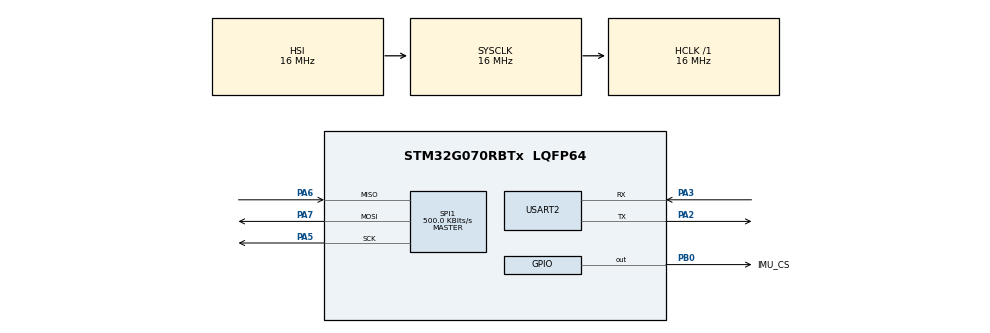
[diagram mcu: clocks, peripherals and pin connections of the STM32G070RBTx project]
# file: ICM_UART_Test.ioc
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Mcu.Family=STM32G0
Mcu.Name=STM32G070RBTx
Mcu.Package=LQFP64
PA13.GPIO_Label=TMS
PA13.Mode=Serial_Wire
PA13.Signal=SYS_SWDIO
PA14-BOOT0.GPIO_Label=TCK
PA14-BOOT0.Mode=Serial_Wire
PA14-BOOT0.Signal=SYS_SWCLK
PA2.GPIO_PuPd=GPIO_PULLUP
PA2.Mode=Asynchronous
PA2.Signal=USART2_TX
PA3.GPIO_PuPd=GPIO_PULLUP
PA3.Mode=Asynchronous
PA3.Signal=USART2_RX
PA5.Mode=Full_Duplex_Master
PA5.Signal=SPI1_SCK
PA6.Mode=Full_Duplex_Master
PA6.Signal=SPI1_MISO
PA7.Mode=Full_Duplex_Master
PA7.Signal=SPI1_MOSI
PB0.GPIO_Label=IMU_CS
PB0.PinState=GPIO_PIN_SET
PB0.Signal=GPIO_Output
PC13.Mode=SYS_WakeUp1
PC13.Signal=SYS_WKUP2
PC14-OSC32_IN\ (PC14).Signal=RCC_OSC32_IN
PC15-OSC32_OUT\ (PC15).Signal=RCC_OSC32_OUT
PF0-OSC_IN\ (PF0).GPIO_Label=MCO
PF0-OSC_IN\ (PF0).Signal=RCC_OSC_IN
ProjectManager.HeapSize=0x200
ProjectManager.StackSize=0x400
ProjectManager.TargetToolchain=CMake
RCC.AHBFreq_Value=16000000
RCC.CortexFreq_Value=16000000
RCC.EXTERNAL_CLOCK_VALUE=12288000
RCC.HCLKFreq_Value=16000000
RCC.HSE_VALUE=8000000
RCC.HSI_VALUE=16000000
RCC.SYSCLKFreq_VALUE=16000000
RCC.VCOOutputFreq_Value=128000000
SPI1.BaudRatePrescaler=SPI_BAUDRATEPRESCALER_32
SPI1.CalculateBaudRate=500.0 KBits/s
SPI1.DataSize=SPI_DATASIZE_8BIT
SPI1.Direction=SPI_DIRECTION_2LINES
SPI1.Mode=SPI_MODE_MASTER
SPI1.NSSPMode=SPI_NSS_PULSE_DISABLE
SPI1.VirtualType=VM_MASTER
USART2.VirtualMode-Asynchronous=VM_ASYNC
USART2.WordLength=WORDLENGTH_8B
board=NUCLEO-G070RB

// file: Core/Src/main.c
/* USER CODE BEGIN Header */
/**
  ******************************************************************************
  * @file           : main.c
  * @brief          : Main program body
  ******************************************************************************
  * @attention
  *
  * Copyright (c) 2026 STMicroelectronics.
  * All rights reserved.
  *
  * This software is licensed under terms that can be found in the LICENSE file
  * in the root directory of this software component.
  * If no LICENSE file comes with this software, it is provided AS-IS.
  *
  ******************************************************************************
  */
/* USER CODE END Header */
#include "main.h"

/* USER CODE BEGIN Includes */
#include <stdint.h>
#include <stdio.h>
/* USER CODE END Includes */

SPI_HandleTypeDef hspi1;

UART_HandleTypeDef huart2;

/* USER CODE BEGIN PV */
/* SPI、UART 最近一次通信状态 */
volatile HAL_StatusTypeDef spi_status = HAL_OK;
volatile HAL_StatusTypeDef uart_status = HAL_OK;

volatile uint32_t spi_error_code = 0;
volatile uint32_t uart_error_count = 0;

/* 传感器身份和初始化状态 */
volatile uint8_t who_am_i = 0;
volatile uint8_t imu_init_ok = 0;
volatile uint8_t imu_init_step = 0;

/* 下标 0、1、2 分别表示 X、Y、Z */
volatile int16_t accel_raw[3] = {0};
volatile int16_t gyro_raw[3] = {0};

/* 供 Watch 观察的物理量 */
volatile float accel_g[3] = {0};
volatile float gyro_dps[3] = {0};

/* 数据读取统计 */
volatile uint32_t sample_count = 0;
volatile uint32_t read_error_count = 0;
volatile uint32_t invalid_sample_count = 0;

/* 最近一组有效数据读取完成后的系统时间，单位 ms */
volatile uint32_t sample_time_ms = 0;
/* USER CODE END PV */

void SystemClock_Config(void);
static void MX_GPIO_Init(void);
static void MX_SPI1_Init(void);
static void MX_USART2_UART_Init(void);

/* USER CODE BEGIN 0 */
/* -------- Bank 0 寄存器地址 -------- */
#define ICM_DEVICE_CONFIG  0x11U
#define ICM_ACCEL_DATA_X1  0x1FU
#define ICM_INTF_CONFIG0   0x4CU
#define ICM_INTF_CONFIG1   0x4DU
#define ICM_PWR_MGMT0      0x4EU
#define ICM_GYRO_CONFIG0   0x4FU
#define ICM_ACCEL_CONFIG0  0x50U
#define ICM_WHO_AM_I       0x75U
#define ICM_BANK_SEL       0x76U

/*
 * 发送一段已经准备好的文字。
 * length 为实际字节数，不包含字符串结束符 '\0'。
 *
 * 使用阻塞发送，发送结束或超时后才返回。
 */
static void UART_SendText(const char *text, uint16_t length)
{
    uart_status = HAL_UART_Transmit(
        &huart2,
        (uint8_t *)text,
        length,
        100
    );

    if (uart_status != HAL_OK)
    {
        ++uart_error_count;
    }
}

/*
 * 向一个寄存器写入一个字节。
 *
 * tx[0]：最高位为 0，表示写；剩余位为地址。
 * tx[1]：写入内容。
 */
static HAL_StatusTypeDef ICM_WriteReg(uint8_t reg, uint8_t value)
{
    uint8_t tx[2] = {reg & 0x7FU, value};

    HAL_GPIO_WritePin(
        IMU_CS_GPIO_Port, IMU_CS_Pin, GPIO_PIN_RESET
    );

    HAL_StatusTypeDef result =
        HAL_SPI_Transmit(&hspi1, tx, 2, 100);

    /* 无论成功或失败，都释放片选 */
    HAL_GPIO_WritePin(
        IMU_CS_GPIO_Port, IMU_CS_Pin, GPIO_PIN_SET
    );

    spi_status = result;
    spi_error_code = HAL_SPI_GetError(&hspi1);

    return result;
}

/*
 * 连续读取 1～12 个数据字节。
 *
 * 命令字节最高位为 1，表示读。
 * 后续发送的 0 用来产生时钟，不是写寄存器。
 *
 * 接收数组的第一个字节属于命令阶段，丢弃；
 * 后面的字节才是目标数据。
 */
static HAL_StatusTypeDef ICM_ReadRegs(
    uint8_t reg,
    uint8_t *data,
    uint8_t length)
{
    uint8_t tx[13] = {0};
    uint8_t rx[13] = {0};

    if (data == 0 || length == 0 || length > 12)
    {
        spi_status = HAL_ERROR;
        return HAL_ERROR;
    }

    tx[0] = reg | 0x80U;

    HAL_GPIO_WritePin(
        IMU_CS_GPIO_Port, IMU_CS_Pin, GPIO_PIN_RESET
    );

    /*
     * 命令和数据在同一次事务中传输，
     * 中间 CS 始终保持低电平。
     */
    HAL_StatusTypeDef result = HAL_SPI_TransmitReceive(
        &hspi1, tx, rx, length + 1U, 100
    );

    HAL_GPIO_WritePin(
        IMU_CS_GPIO_Port, IMU_CS_Pin, GPIO_PIN_SET
    );

    spi_status = result;
    spi_error_code = HAL_SPI_GetError(&hspi1);

    if (result == HAL_OK)
    {
        for (uint8_t i = 0; i < length; ++i)
        {
            data[i] = rx[i + 1U];
        }
    }

    return result;
}

/*
 * 写入普通配置寄存器后回读检查。
 * 返回 1：读回内容一致。
 * 返回 0：通信失败或内容不一致。
 *
 * 软件复位等自动清除的控制位不使用这个函数。
 */
static int ICM_WriteCheck(uint8_t reg, uint8_t value)
{
    uint8_t check = 0;

    if (ICM_WriteReg(reg, value) != HAL_OK)
    {
        return 0;
    }

    if (ICM_ReadRegs(reg, &check, 1) != HAL_OK)
    {
        return 0;
    }

    return check == value;
}

/*
 * 只修改 mask 中为 1 的位，保留其他位。
 * 用来避免误改保留位或不相关字段。
 */
static int ICM_UpdateBits(
    uint8_t reg,
    uint8_t mask,
    uint8_t value)
{
    uint8_t old_value = 0;

    if (ICM_ReadRegs(reg, &old_value, 1) != HAL_OK)
    {
        return 0;
    }

    uint8_t new_value =
        (old_value & (uint8_t)~mask) | (value & mask);

    return ICM_WriteCheck(reg, new_value);
}

/*
 * 初始化六轴。
 *
 * imu_init_step 停留在哪个编号，就说明该步骤未通过。
 * 返回 1 表示成功，0 表示失败。
 */
static int ICM_InitSixAxis(void)
{
    uint8_t value = 0;

    /* 步骤 1：选择 Bank 0，检查身份 */
    imu_init_step = 1;

    if (!ICM_WriteCheck(ICM_BANK_SEL, 0x00))
    {
        return 0;
    }

    if (ICM_ReadRegs(ICM_WHO_AM_I, &value, 1) != HAL_OK)
    {
        return 0;
    }

    who_am_i = value;

    if (value != 0x3B)
    {
        return 0;
    }

    /* 步骤 2：软件复位 */
    imu_init_step = 2;

    if (ICM_WriteReg(ICM_DEVICE_CONFIG, 0x01) != HAL_OK)
    {
        return 0;
    }

    /* 手册要求复位后至少等待 1 ms，这里使用 10 ms */
    HAL_Delay(10);

    if (ICM_ReadRegs(ICM_WHO_AM_I, &value, 1) != HAL_OK)
    {
        return 0;
    }

    who_am_i = value;

    if (value != 0x3B)
    {
        return 0;
    }

    /*
     * 步骤 3：正常工作字段。
     * INTF_CONFIG1 的 EN_TEST_MODE[7:6] 必须设置为 01。
     */
    imu_init_step = 3;

    if (!ICM_UpdateBits(ICM_INTF_CONFIG1, 0xC0, 0x40))
    {
        return 0;
    }

    /*
     * 步骤 4：高字节在前，关闭 I2C 接口。
     * bit4 = 1：大端数据格式。
     * bit1:0 = 11：关闭 I2C，保留 SPI。
     */
    imu_init_step = 4;

    if (!ICM_UpdateBits(ICM_INTF_CONFIG0, 0x13, 0x13))
    {
        return 0;
    }

    /*
     * 步骤 5：陀螺仪 ±2000 °/s，1000 Hz。
     * 0x06 = 0000 0110。
     */
    imu_init_step = 5;

    if (!ICM_WriteCheck(ICM_GYRO_CONFIG0, 0x06))
    {
        return 0;
    }

    /*
     * 步骤 6：加速度 ±4 g，1000 Hz。
     * 0x66 = 0110 0110。
     */
    imu_init_step = 6;

    if (!ICM_WriteCheck(ICM_ACCEL_CONFIG0, 0x66))
    {
        return 0;
    }

    /*
     * 步骤 7：开启加速度计和陀螺仪的低噪声模式。
     * 仅设置量程和采样率，不会自动开启测量。
     */
    imu_init_step = 7;

    if (ICM_WriteReg(ICM_PWR_MGMT0, 0x0F) != HAL_OK)
    {
        return 0;
    }

    /* 开启后等待稳定，期间不写入其他寄存器 */
    HAL_Delay(100);

    if (ICM_ReadRegs(ICM_PWR_MGMT0, &value, 1) != HAL_OK)
    {
        return 0;
    }

    if (value != 0x0F)
    {
        return 0;
    }

    imu_init_step = 8;
    return 1;
}

/* 将高、低字节合成为带正负号的 16 位数据 */
static int16_t ICM_ToInt16(uint8_t high, uint8_t low)
{
    uint16_t u = ((uint16_t)high << 8) | low;

    /* 按 16 位补码解释负数 */
    int32_t value = (u & 0x8000U)
                  ? (int32_t)u - 65536
                  : (int32_t)u;

    return (int16_t)value;
}

/*
 * 读取六轴。
 *
 * 返回：
 *  1：有效数据。
 *  0：SPI 读取失败。
 * -1：包含无效样本标记。
 */
static int ICM_ReadSixAxis(void)
{
    uint8_t data[12];
    int16_t next[6];

    /*
     * 从 0x1F 开始：
     * data[0..1]   加速度 X
     * data[2..3]   加速度 Y
     * data[4..5]   加速度 Z
     * data[6..7]   角速度 X
     * data[8..9]   角速度 Y
     * data[10..11] 角速度 Z
     */
    if (ICM_ReadRegs(ICM_ACCEL_DATA_X1, data, 12) != HAL_OK)
    {
        return 0;
    }

    for (uint8_t i = 0; i < 6; ++i)
    {
        next[i] = ICM_ToInt16(
            data[2U * i], data[2U * i + 1U]
        );

        /*
         * 当前数据格式和复位后的保持策略下，
         * -32768 表示无效样本。
         */
        if (next[i] == (-32767 - 1))
        {
            return -1;
        }
    }

    for (uint8_t i = 0; i < 3; ++i)
    {
        accel_raw[i] = next[i];
        gyro_raw[i] = next[i + 3U];

        /* ±4 g：8192 原始计数对应 1 g */
        accel_g[i] = next[i] / 8192.0f;

        /* ±2000 °/s：换算为度/秒 */
        gyro_dps[i] =
            next[i + 3U] * (2000.0f / 32768.0f);
    }

    /*
     * 记录数据读取完成后的系统时间。
     * 这不是传感器内部的精确采样时间戳。
     */
    sample_time_ms = HAL_GetTick();

    return 1;
}

/*
 * 将放大了 1000 倍的整数转换为带三位小数的文字。
 *
 * 示例：
 *     305 → "0.305"
 *     -12 → "-0.012"
 *
 * 正负号单独处理，确保 -0.012 不会丢失负号。
 */
static void FormatMilli(int32_t value, char *text, size_t size)
{
    const char *sign = "";

    if (value < 0)
    {
        sign = "-";
        value = -value;
    }

    snprintf(
        text,
        size,
        "%s%ld.%03ld",
        sign,
        (long)(value / 1000),
        (long)(value % 1000)
    );
}

/* 输出一组六轴数据 */
static void ICM_SendSixAxisUART(void)
{
    char message[384];

    char ax_text[20], ay_text[20], az_text[20];
    char gx_text[20], gy_text[20], gz_text[20];

    /* 加速度换算为 mg，适用于当前 ±4 g 量程 */
    int32_t ax = (int32_t)accel_raw[0] * 1000 / 8192;
    int32_t ay = (int32_t)accel_raw[1] * 1000 / 8192;
    int32_t az = (int32_t)accel_raw[2] * 1000 / 8192;

    /* 角速度换算为 mdps，适用于当前 ±2000 度/秒量程 */
    int32_t gx = (int32_t)gyro_raw[0] * 15625 / 256;
    int32_t gy = (int32_t)gyro_raw[1] * 15625 / 256;
    int32_t gz = (int32_t)gyro_raw[2] * 15625 / 256;

    /* 转成以 g、度/秒为单位的三位小数文本 */
    FormatMilli(ax, ax_text, sizeof(ax_text));
    FormatMilli(ay, ay_text, sizeof(ay_text));
    FormatMilli(az, az_text, sizeof(az_text));

    FormatMilli(gx, gx_text, sizeof(gx_text));
    FormatMilli(gy, gy_text, sizeof(gy_text));
    FormatMilli(gz, gz_text, sizeof(gz_text));

    int length = snprintf(message, sizeof(message),
         "%s %s %s\r\n%s %s %s\r\n",
         ax_text, ay_text, az_text,
         gx_text, gy_text, gz_text);

    if (length > 0 && length < (int)sizeof(message))
    {
        UART_SendText(message, (uint16_t)length);
    }
    else
    {
        ++uart_error_count;
    }
}

/* 输出错误位置和计数，方便不用 Watch 也能排查 */
static void ICM_SendDiagnostic(const char *reason)
{
    char message[192];

    int length = snprintf(
        message,
        sizeof(message),
        "# %s,step=%u,id=0x%02X,spi=%u,"
        "spi_error=%lu,read_errors=%lu,invalid=%lu\r\n",
        reason,
        (unsigned int)imu_init_step,
        (unsigned int)who_am_i,
        (unsigned int)spi_status,
        (unsigned long)spi_error_code,
        (unsigned long)read_error_count,
        (unsigned long)invalid_sample_count
    );

    if (length > 0 && length < (int)sizeof(message))
    {
        UART_SendText(message, (uint16_t)length);
    }
    else
    {
        ++uart_error_count;
    }
}
/* USER CODE END 0 */

int main(void)
{

  /* MCU Configuration--------------------------------------------------------*/

  /* Reset of all peripherals, Initializes the Flash interface and the Systick. */
  HAL_Init();

  /* Configure the system clock */
  SystemClock_Config();

  /* Initialize all configured peripherals */
  MX_GPIO_Init();
  MX_SPI1_Init();
  MX_USART2_UART_Init();
  /* USER CODE BEGIN 2 */

  /* 空闲时不选中 ICM */
  HAL_GPIO_WritePin(
      IMU_CS_GPIO_Port, IMU_CS_Pin, GPIO_PIN_SET
  );

  HAL_Delay(100);

  /* 先发送启动消息，确认程序已执行到这里 */
  const char startup[] = "# ICM UART test starting\r\n";
  UART_SendText(startup, sizeof(startup) - 1U);

  /* 初始化传感器 */
  imu_init_ok = ICM_InitSixAxis() ? 1U : 0U;

  if (imu_init_ok == 0)
  {
      /*
      * 初始化失败后，每秒打印一次诊断。
      * 根据 step 查找初始化函数中对应步骤。
      */
      while (1)
      {
          ICM_SendDiagnostic("INIT FAILED");
          HAL_Delay(1000);
      }
  }

  const char ready[] = "# ICM initialized, WHO_AM_I=0x3B\r\n";
  UART_SendText(ready, sizeof(ready) - 1U);

  /* CSV 表头，说明各列单位 */
  const char header[] =
      "六轴数据实时显示：加速度单位 g，角速度单位 度/秒\r\n";

  UART_SendText(header, sizeof(header) - 1U);

  /* 完成初始化后，才开始统计 */
  uint32_t last_report_ms = HAL_GetTick();
  uint32_t last_sample_count = sample_count;
  /* USER CODE END 2 */

  /* Infinite loop */
  /* USER CODE BEGIN WHILE */
  while (1)
  {
    uint8_t status = 0;

    /* 先读取数据就绪状态 */
    if (ICM_ReadRegs(0x2DU, &status, 1) == HAL_OK)
    {
        if ((status & 0x08U) != 0U)
        {
            /* 确认有新数据后，再读取六轴 */
            int result = ICM_ReadSixAxis();

            if (result == 1)
            {
                ++sample_count;
            }
            else if (result == 0)
            {
                ++read_error_count;
            }
            else
            {
                ++invalid_sample_count;
            }
        }
    }
    /* 每次循环都重新获取时间 */
    uint32_t now_ms = HAL_GetTick();
    uint32_t elapsed_ms = now_ms - last_report_ms;
    /* 每隔约 1 秒统计、发送一次 */
    if (elapsed_ms >= 1000U)
    {
        /* 先保存当前计数，作为本次统计的结束位置 */
        uint32_t current_count = sample_count;

        /* 本次统计窗口内成功采集了多少组 */
        uint32_t interval_count =
            current_count - last_sample_count;

        /* 根据实际统计时间，换算成每秒采样次数 */
        uint32_t rate_hz =
            interval_count * 1000U / elapsed_ms;

        char message[48];

        /* 只输出数字：本次采集组数,平均采集频率 */
        int length = snprintf(
            message,
            sizeof(message),
            "%lu,%lu\r\n",
            (unsigned long)interval_count,
            (unsigned long)rate_hz
        );

        /* 更新下次统计的起点 */
        last_sample_count = current_count;
        last_report_ms = now_ms;
        ICM_SendSixAxisUART();

        if (length > 0 && length < (int)sizeof(message))
        {
            HAL_UART_Transmit(
                &huart2,
                (uint8_t *)message,
                (uint16_t)length,
                100
            );
        }
    }
    /* USER CODE END WHILE */

  }
}

void SystemClock_Config(void)
{
  RCC_OscInitTypeDef RCC_OscInitStruct = {0};
  RCC_ClkInitTypeDef RCC_ClkInitStruct = {0};

  /** Configure the main internal regulator output voltage
  */
  HAL_PWREx_ControlVoltageScaling(PWR_REGULATOR_VOLTAGE_SCALE1);

  /** Initializes the RCC Oscillators according to the specified parameters
  * in the RCC_OscInitTypeDef structure.
  */
  RCC_OscInitStruct.OscillatorType = RCC_OSCILLATORTYPE_HSI;
  RCC_OscInitStruct.HSIState = RCC_HSI_ON;
  RCC_OscInitStruct.HSIDiv = RCC_HSI_DIV1;
  RCC_OscInitStruct.HSICalibrationValue = RCC_HSICALIBRATION_DEFAULT;
  RCC_OscInitStruct.PLL.PLLState = RCC_PLL_NONE;
  if (HAL_RCC_OscConfig(&RCC_OscInitStruct) != HAL_OK)
  {
    Error_Handler();
  }

  /** Initializes the CPU, AHB and APB buses clocks
  */
  RCC_ClkInitStruct.ClockType = RCC_CLOCKTYPE_HCLK|RCC_CLOCKTYPE_SYSCLK
                              |RCC_CLOCKTYPE_PCLK1;
  RCC_ClkInitStruct.SYSCLKSource = RCC_SYSCLKSOURCE_HSI;
  RCC_ClkInitStruct.AHBCLKDivider = RCC_SYSCLK_DIV1;
  RCC_ClkInitStruct.APB1CLKDivider = RCC_HCLK_DIV1;

  if (HAL_RCC_ClockConfig(&RCC_ClkInitStruct, FLASH_LATENCY_0) != HAL_OK)
  {
    Error_Handler();
  }
}

static void MX_SPI1_Init(void)
{

  /* SPI1 parameter configuration*/
  hspi1.Instance = SPI1;
  hspi1.Init.Mode = SPI_MODE_MASTER;
  hspi1.Init.Direction = SPI_DIRECTION_2LINES;
  hspi1.Init.DataSize = SPI_DATASIZE_8BIT;
  hspi1.Init.CLKPolarity = SPI_POLARITY_LOW;
  hspi1.Init.CLKPhase = SPI_PHASE_1EDGE;
  hspi1.Init.NSS = SPI_NSS_SOFT;
  hspi1.Init.BaudRatePrescaler = SPI_BAUDRATEPRESCALER_32;
  hspi1.Init.FirstBit = SPI_FIRSTBIT_MSB;
  hspi1.Init.TIMode = SPI_TIMODE_DISABLE;
  hspi1.Init.CRCCalculation = SPI_CRCCALCULATION_DISABLE;
  hspi1.Init.CRCPolynomial = 7;
  hspi1.Init.CRCLength = SPI_CRC_LENGTH_DATASIZE;
  hspi1.Init.NSSPMode = SPI_NSS_PULSE_DISABLE;
  if (HAL_SPI_Init(&hspi1) != HAL_OK)
  {
    Error_Handler();
  }

}

static void MX_USART2_UART_Init(void)
{

  huart2.Instance = USART2;
  huart2.Init.BaudRate = 115200;
  huart2.Init.WordLength = UART_WORDLENGTH_8B;
  huart2.Init.StopBits = UART_STOPBITS_1;
  huart2.Init.Parity = UART_PARITY_NONE;
  huart2.Init.Mode = UART_MODE_TX_RX;
  huart2.Init.HwFlowCtl = UART_HWCONTROL_NONE;
  huart2.Init.OverSampling = UART_OVERSAMPLING_16;
  huart2.Init.OneBitSampling = UART_ONE_BIT_SAMPLE_DISABLE;
  huart2.Init.ClockPrescaler = UART_PRESCALER_DIV1;
  huart2.AdvancedInit.AdvFeatureInit = UART_ADVFEATURE_NO_INIT;
  if (HAL_UART_Init(&huart2) != HAL_OK)
  {
    Error_Handler();
  }
  if (HAL_UARTEx_SetTxFifoThreshold(&huart2, UART_TXFIFO_THRESHOLD_1_8) != HAL_OK)
  {
    Error_Handler();
  }
  if (HAL_UARTEx_SetRxFifoThreshold(&huart2, UART_RXFIFO_THRESHOLD_1_8) != HAL_OK)
  {
    Error_Handler();
  }
  if (HAL_UARTEx_DisableFifoMode(&huart2) != HAL_OK)
  {
    Error_Handler();
  }

}

static void MX_GPIO_Init(void)
{
  GPIO_InitTypeDef GPIO_InitStruct = {0};

  /* GPIO Ports Clock Enable */
  __HAL_RCC_GPIOC_CLK_ENABLE();
  __HAL_RCC_GPIOF_CLK_ENABLE();
  __HAL_RCC_GPIOA_CLK_ENABLE();
  __HAL_RCC_GPIOB_CLK_ENABLE();

  /*Configure GPIO pin Output Level */
  HAL_GPIO_WritePin(IMU_CS_GPIO_Port, IMU_CS_Pin, GPIO_PIN_SET);

  /*Configure GPIO pin : IMU_CS_Pin */
  GPIO_InitStruct.Pin = IMU_CS_Pin;
  GPIO_InitStruct.Mode = GPIO_MODE_OUTPUT_PP;
  GPIO_InitStruct.Pull = GPIO_NOPULL;
  GPIO_InitStruct.Speed = GPIO_SPEED_FREQ_LOW;
  HAL_GPIO_Init(IMU_CS_GPIO_Port, &GPIO_InitStruct);

}

void Error_Handler(void)
{
  __disable_irq();
  while (1)
  {
  }
}
